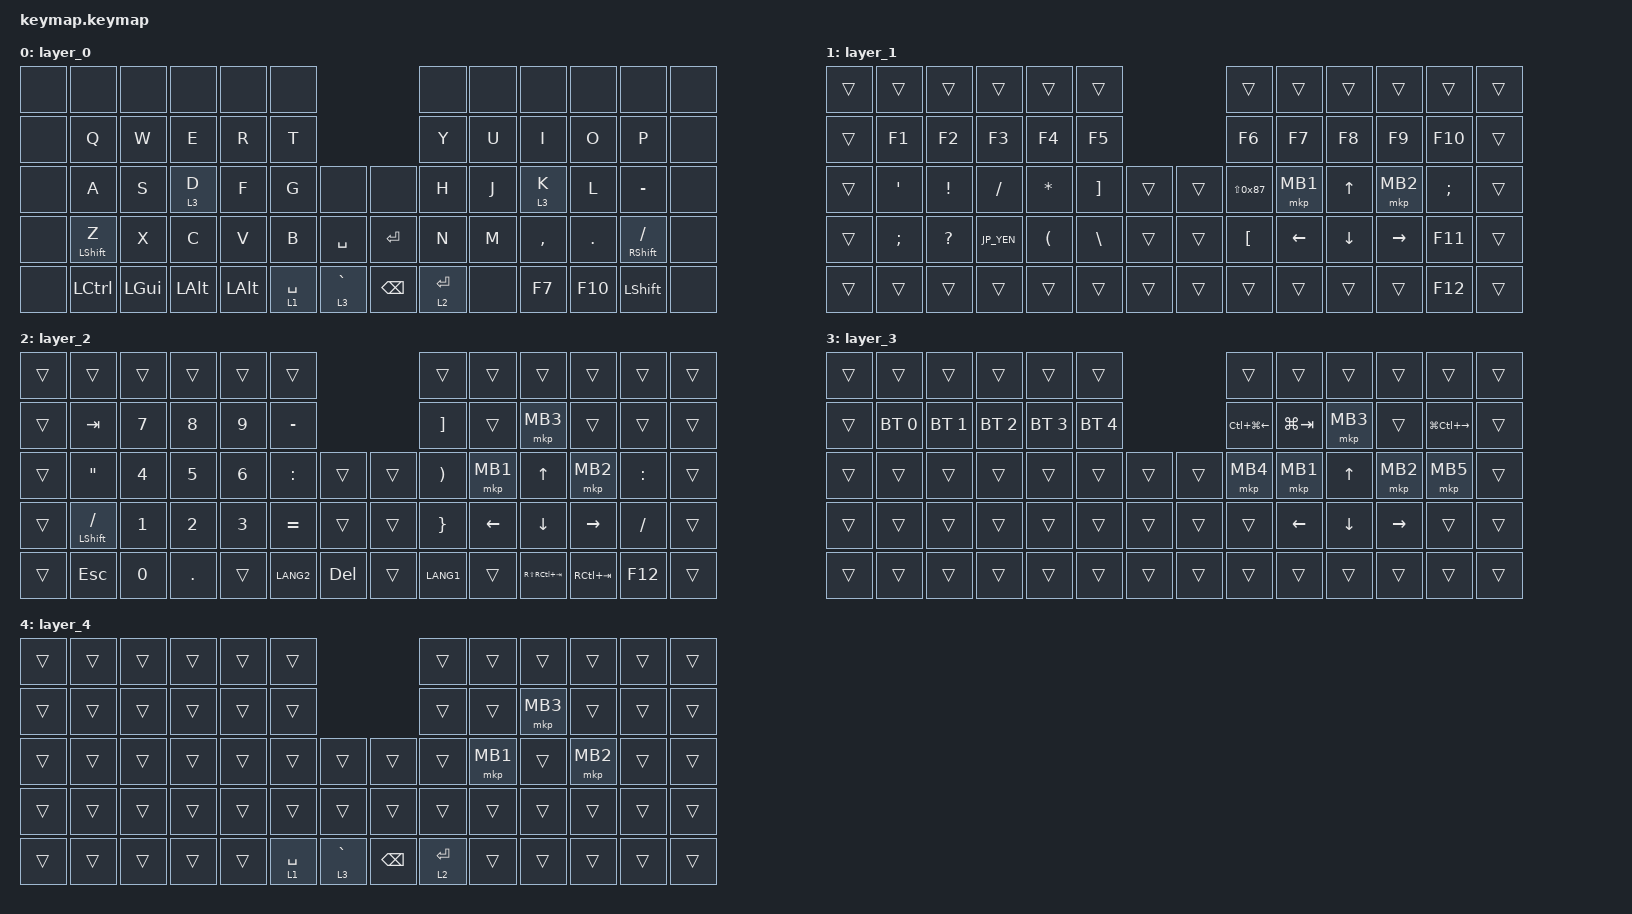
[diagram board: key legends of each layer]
#include <input/processors.dtsi>
#include <behaviors.dtsi>
#include <dt-bindings/zmk/bt.h>
#include <dt-bindings/zmk/keys.h>
#include <dt-bindings/zmk/pointing.h>

// OS設定を日本語キーボードのまま使用するための変換定義

#define JP_DQUOTE       AT                // "
#define JP_AMPERSAND    CARET             // &
#define JP_QUOTE        AMPERSAND         // '
#define JP_EQUAL        UNDER             // =
#define JP_CARET        EQUAL             // ^
#define JP_YEN          0x89              // ¥
#define JP_PLUS         COLON             // +
#define JP_TILDE        PLUS              // ~
#define JP_PIPE         LS(0x89)          // |
#define JP_AT           LEFT_BRACKET      // @
#define JP_COLON        SINGLE_QUOTE      // :
#define JP_ASTERISK     DOUBLE_QUOTES     // *
#define JP_BACKQUOTE    LEFT_BRACE        // `
#define JP_UNDERSCORE   LS(0x87)          // _
#define JP_LBRACKET     RIGHT_BRACKET     // [
#define JP_RBRACKET     BACKSLASH         // ]
#define JP_LPAREN       ASTERISK          // (
#define JP_RPAREN       LEFT_PARENTHESIS  // )
#define JP_LBRACE       RIGHT_BRACE       // {
#define JP_RBRACE       PIPE              // }
#define JP_KANA         LANGUAGE_1        // かな
#define JP_EISU         LANGUAGE_2        // 英数
#define JP_HANZEN       GRAVE             // 半角/全角

&trackball_listener {
    // Auto-mouse layer: activates layer 4 (MOUSE) when trackball moves, 600ms timeout
    // Invert both X and Y axes to reverse trackball direction (180-degree rotation)
    // Value 6 = INPUT_TRANSFORM_X_INVERT (2) | INPUT_TRANSFORM_Y_INVERT (4)
    // Scaler reduces mouse pointer speed to 2/3 for better precision

    input-processors = <
        &zip_xy_transform 6
        &zip_xy_scaler 2 3
        &zip_temp_layer 4 600
    >;
};

/ {
    combos {
        compatible = "zmk,combos";

        tab {
            bindings = <&kp TAB>;
            key-positions = <26 27>;
            layers = <0>;
        };

        stab {
            bindings = <&kp LS(TAB)>;
            key-positions = <27 28>;
        };

        btreset {
            bindings = <&bt BT_CLR>;
            key-positions = <13 17>;
            layers = <3>;
        };

        boot {
            bindings = <&bootloader>;
            key-positions = <14 15 16>;
            layers = <3>;
        };

        dq {
            bindings = <&kp DQT>;
            key-positions = <35 34>;
        };

        btallreset {
            bindings = <&bt BT_CLR_ALL>;
            key-positions = <25 29>;
            layers = <3>;
        };
    };

    behaviors {
        // Auto-mouse layer activates on trackball movement
    };

    keymap {
        compatible = "zmk,keymap";

        layer_0 {
            bindings = <
&none  &none             &none     &none     &none     &none                                    &none        &none  &none      &none    &none                 &none
&none  &kp Q             &kp W     &kp E     &kp R     &kp T                                    &kp Y        &kp U  &kp I      &kp O    &kp P                 &none
&none  &kp A             &kp S     &lt 3 D   &kp F     &kp G        &none        &none          &kp H        &kp J  &lt 3 K    &kp L    &kp MINUS             &none
&none  &mt LEFT_SHIFT Z  &kp X     &kp C     &kp V     &kp B        &kp SPACE    &kp RET        &kp N        &kp M  &kp COMMA  &kp DOT  &mt RIGHT_SHIFT FSLH  &none
&none  &kp LCTRL         &kp LGUI  &kp LALT  &kp LALT  &lt 1 SPACE  &lt 3 GRAVE  &kp BACKSPACE  &lt 2 ENTER  &none  &kp F7     &kp F10  &kp LEFT_SHIFT        &none
            >;
        };

        layer_1 {
            bindings = <
&trans  &trans         &trans           &trans      &trans         &trans                           &trans             &trans    &trans    &trans     &trans         &trans
&trans  &kp F1         &kp F2           &kp F3      &kp F4         &kp F5                           &kp F6             &kp F7    &kp F8    &kp F9     &kp F10        &trans
&trans  &kp JP_COLON   &kp EXCLAMATION  &kp SLASH   &kp JP_LPAREN  &kp JP_LBRACKET  &trans  &trans  &kp JP_UNDERSCORE  &mkp MB1  &kp UP    &mkp MB2   &kp SEMICOLON  &trans
&trans  &kp SEMICOLON  &kp QUESTION     &kp JP_YEN  &kp JP_RPAREN  &kp JP_RBRACKET  &trans  &trans  &kp JP_AT          &kp LEFT  &kp DOWN  &kp RIGHT  &kp F11        &trans
&trans  &trans         &trans           &trans      &trans         &trans           &trans  &trans  &trans             &trans    &trans    &trans     &kp F12        &trans
            >;
        };

        layer_2 {
            bindings = <
&trans  &trans                &trans  &trans      &trans  &trans                        &trans             &trans    &trans           &trans       &trans     &trans
&trans  &kp TAB               &kp N7  &kp N8      &kp N9  &kp MINUS                     &kp RIGHT_BRACKET  &trans    &mkp MB3         &trans       &trans     &trans
&trans  &kp JP_ASTERISK       &kp N4  &kp N5      &kp N6  &kp JP_PLUS  &trans   &trans  &kp RPAR           &mkp MB1  &kp UP           &mkp MB2     &kp COLON  &trans
&trans  &mt LEFT_SHIFT SLASH  &kp N1  &kp N2      &kp N3  &kp EQUAL    &trans   &trans  &kp RIGHT_BRACE    &kp LEFT  &kp DOWN         &kp RIGHT    &kp SLASH  &trans
&trans  &kp ESCAPE            &kp N0  &kp PERIOD  &trans  &kp LANG2    &kp DEL  &trans  &kp LANG1          &trans    &kp RS(RC(TAB))  &kp RC(TAB)  &kp F12    &trans
            >;
        };

        layer_3 {
            bindings = <
&trans  &trans        &trans        &trans        &trans        &trans                        &trans            &trans       &trans    &trans     &trans             &trans
&trans  &bt BT_SEL 0  &bt BT_SEL 1  &bt BT_SEL 2  &bt BT_SEL 3  &bt BT_SEL 4                  &kp LC(LG(LEFT))  &kp LG(TAB)  &mkp MB3  &trans     &kp LG(LC(RIGHT))  &trans
&trans  &trans        &trans        &trans        &trans        &trans        &trans  &trans  &mkp MB4          &mkp MB1     &kp UP    &mkp MB2   &mkp MB5           &trans
&trans  &trans        &trans        &trans        &trans        &trans        &trans  &trans  &trans            &kp LEFT     &kp DOWN  &kp RIGHT  &trans             &trans
&trans  &trans        &trans        &trans        &trans        &trans        &trans  &trans  &trans            &trans       &trans    &trans     &trans             &trans
            >;
        };

        layer_4 {
            bindings = <
&trans  &trans  &trans  &trans  &trans  &trans                                   &trans       &trans    &trans    &trans    &trans  &trans
&trans  &trans  &trans  &trans  &trans  &trans                                   &trans       &trans    &mkp MB3  &trans    &trans  &trans
&trans  &trans  &trans  &trans  &trans  &trans       &trans       &trans         &trans       &mkp MB1  &trans    &mkp MB2  &trans  &trans
&trans  &trans  &trans  &trans  &trans  &trans       &trans       &trans         &trans       &trans    &trans    &trans    &trans  &trans
&trans  &trans  &trans  &trans  &trans  &lt 1 SPACE  &lt 3 GRAVE  &kp BACKSPACE  &lt 2 ENTER  &trans    &trans    &trans    &trans  &trans
            >;
        };
    };
};
